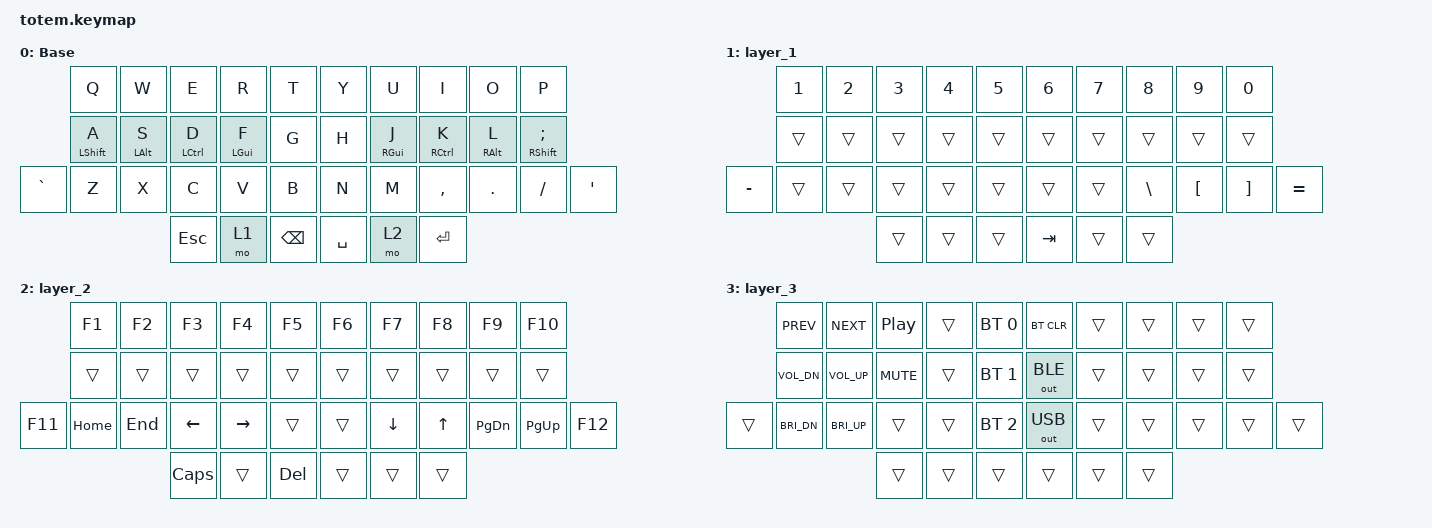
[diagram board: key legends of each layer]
//
//                                                        ▀▀▀▀▀     ▀▀▀▀▀          ▀▀█▀▀
//                                                        ▄▀▀▀▄  ▄  ▄▀▀▀▄  ▄  ▄▀▀▀▄  █  ▄▀▀▀▄
//                                                        █   █  █  █   █  █  █   █  █  █   █
//                                                         ▀▀▀   █   ▀▀▀   █   ▀▀▀   ▀   ▀▀▀
//                                                               █      ▄▄▄█▄▄▄    █   █  
//                                                               ▀      █  █  █     █▄█
//                                                             ▀▀▀▀▀    █  █  █      ▀
//                                                                      ▀  ▀  ▀
//
// ▄▄▄▄▄▄▄▄▄▄▄▄▄▄▄▄▄▄▄▄▄▄▄▄▄▄▄▄▄▄▄▄▄▄▄▄▄▄▄▄▄▄▄▄▄▄▄▄▄▄▄▄▄▄▄▄▄▄▄▄▄▄▄▄▄▄▄▄▄▄▄▄▄▄▄▄▄▄▄▄▄▄▄▄▄▄▄▄▄▄▄▄▄▄▄▄▄▄▄▄▄▄▄▄▄▄▄▄▄▄▄▄▄▄▄▄▄▄▄▄▄▄▄▄▄▄▄▄▄▄▄▄▄▄▄▄▄▄▄▄▄▄▄▄▄▄▄▄▄

#include <behaviors.dtsi>
#include <dt-bindings/zmk/bt.h>
#include <dt-bindings/zmk/keys.h>
#include <dt-bindings/zmk/outputs.h>

#define BASE 0
#define NAV  1
#define SYM  2
#define ADJ  3
#define TVP1 4
#define TVP2 5

&mt {
    quick-tap-ms = <100>;
    global-quick-tap;
    flavor = "tap-preferred";
    tapping-term-ms = <170>;
};

/ {
    combos { compatible = "zmk,combos"; };

    behaviors {
        hm: homerow_mods {
            compatible = "zmk,behavior-hold-tap";
            label = "HOMEROW_MODS";
            bindings = <&kp>, <&kp>;

            #binding-cells = <2>;
            tapping-term-ms = <170>;
            quick-tap-ms = <125>;
            flavor = "tap-preferred";
        };
    };

    keymap {
        compatible = "zmk,keymap";

        // ▄▄▄▄▄▄▄▄▄▄▄▄▄▄▄▄▄▄▄▄▄▄▄▄▄▄▄▄▄▄▄▄▄▄▄▄▄▄▄▄▄▄▄▄▄▄▄▄▄▄▄▄▄▄▄▄▄▄▄▄▄▄▄▄▄▄▄▄▄▄▄▄▄▄▄▄▄▄▄▄▄▄▄▄▄▄▄▄▄▄▄▄▄▄▄▄▄▄▄▄▄▄▄▄▄▄▄▄▄▄▄▄▄▄▄▄▄▄▄▄▄▄▄▄▄▄▄▄▄▄▄▄▄▄▄▄▄▄▄▄▄▄▄▄▄▄▄▄▄
        // ▄▄▄▄▄▄▄▄▄▄▄▄▄▄▄▄▄▄▄▄▄▄▄▄▄▄▄▄▄▄▄▄▄▄▄▄▄▄▄▄▄▄▄▄▄▄▄▄▄▄▄▄▄▄▄▄▄▄▄▄▄▄▄▄▄▄▄▄▄▄▄▄▄▄▄▄▄▄▄▄▄▄▄▄▄▄▄▄▄▄▄▄▄▄▄▄▄▄▄▄▄▄▄▄▄▄▄▄▄▄▄▄▄▄▄▄▄▄▄▄▄▄▄▄▄▄▄▄▄▄▄▄▄▄▄▄▄▄▄▄▄▄▄▄▄▄▄▄▄
        // ▄▄▄▄▄▄▄▄▄▄▄▄▄▄▄▄▄▄▄▄▄▄▄▄▄▄▄▄▄▄▄▄▄▄▄▄▄▄▄▄▄▄▄▄▄▄▄▄▄▄▄▄▄▄▄▄▄▄▄▄▄▄▄▄▄▄▄▄▄▄▄▄▄▄▄▄▄▄▄▄▄▄▄▄▄▄▄▄▄▄▄▄▄▄▄▄▄▄▄▄▄▄▄▄▄▄▄▄▄▄▄▄▄▄▄▄▄▄▄▄▄▄▄▄▄▄▄▄▄▄▄▄▄▄▄▄▄▄▄▄▄▄▄▄▄▄▄▄▄
        // ▄▄▄▄▄▄▄▄▄▄▄▄▄▄▄▄▄▄▄▄▄▄▄▄▄▄▄▄▄▄▄▄▄▄▄▄▄▄▄▄▄▄▄▄▄▄▄▄▄▄▄▄▄▄▄▄▄▄▄▄▄▄▄▄▄▄▄▄▄▄▄▄▄▄▄▄▄▄▄▄▄▄▄▄▄▄▄▄▄▄▄▄▄▄▄▄▄▄▄▄▄▄▄▄▄▄▄▄▄▄▄▄▄▄▄▄▄▄▄▄▄▄▄▄▄▄▄▄▄▄▄▄▄▄▄▄▄▄▄▄▄▄▄▄▄▄▄▄▄
        // ▄▄▄▄▄▄▄▄▄▄▄▄▄▄▄▄▄▄▄▄▄▄▄▄▄▄▄▄▄▄▄▄▄▄▄▄▄▄▄▄▄▄▄▄▄▄▄▄▄▄▄▄▄▄▄▄▄▄▄▄▄▄▄▄▄▄▄▄▄▄▄▄▄▄▄▄▄▄▄▄▄▄▄▄▄▄▄▄▄▄▄▄▄▄▄▄▄▄▄▄▄▄▄▄▄▄▄▄▄▄▄▄▄▄▄▄▄▄▄▄▄▄▄▄▄▄▄▄▄▄▄▄▄▄▄▄▄▄▄▄▄▄▄▄▄▄▄▄▄
        // ▄▄▄▄▄▄▄▄▄▄▄▄▄▄▄▄▄▄▄▄▄▄▄▄▄▄▄▄▄▄▄▄▄▄▄▄▄▄▄▄▄▄▄▄▄▄▄▄▄▄▄▄▄▄▄▄▄▄▄▄▄▄▄▄▄▄▄▄▄▄▄▄▄▄▄▄▄▄▄▄▄▄▄▄▄▄▄▄▄▄▄▄▄▄▄▄▄▄▄▄▄▄▄▄▄▄▄▄▄▄▄▄▄▄▄▄▄▄▄▄▄▄▄▄▄▄▄▄▄▄▄▄▄▄▄▄▄▄▄▄▄▄▄▄▄▄▄▄▄

        Base {
            bindings = <
           &kp Q             &kp W       &kp E        &kp R           &kp T       &kp Y      &kp U            &kp I        &kp O       &kp P
           &hm LEFT_SHIFT A  &hm LALT S  &hm LCTRL D  &hm LEFT_GUI F  &kp G       &kp H      &hm RIGHT_GUI J  &hm RCTRL K  &hm RALT L  &hm RIGHT_SHIFT SEMICOLON
&kp GRAVE  &kp Z             &kp X       &kp C        &kp V           &kp B       &kp N      &kp M            &kp COMMA    &kp DOT     &kp FSLH                   &kp SQT
                                         &kp ESC      &mo 1           &kp BSPC    &kp SPACE  &mo 2            &kp RET
            >;

            label = "Base";
        };

        Layer_1 {
            bindings = <
           &kp N1  &kp N2  &kp N3  &kp N4  &kp N5    &kp N6   &kp N7  &kp N8    &kp N9    &kp N0
           &trans  &trans  &trans  &trans  &trans    &trans   &trans  &trans    &trans    &trans
&kp MINUS  &trans  &trans  &trans  &trans  &trans    &trans   &trans  &kp BSLH  &kp LBKT  &kp RBKT  &kp EQUAL
                           &trans  &trans  &trans    &kp TAB  &trans  &trans
            >;

            label = "layer_1";
        };

        Layer_2 {
            bindings = <
         &kp F1    &kp F2   &kp F3    &kp F4     &kp F5     &kp F6  &kp F7    &kp F8  &kp F9     &kp F10
         &trans    &trans   &trans    &trans     &trans     &trans  &trans    &trans  &trans     &trans
&kp F11  &kp HOME  &kp END  &kp LEFT  &kp RIGHT  &trans     &trans  &kp DOWN  &kp UP  &kp PG_DN  &kp PG_UP  &kp F12
                            &kp CAPS  &trans     &kp DEL    &trans  &trans    &trans
            >;

            label = "layer_2";
        };

        Layer_3 {
            bindings = <
        &kp C_PREV    &kp C_NEXT       &kp C_PP    &trans  &bt BT_SEL 0    &bt BT_CLR    &trans  &trans  &trans  &trans
        &kp C_VOL_DN  &kp C_VOLUME_UP  &kp K_MUTE  &trans  &bt BT_SEL 1    &out OUT_BLE  &trans  &trans  &trans  &trans
&trans  &kp C_BRI_DN  &kp C_BRI_UP     &trans      &trans  &bt BT_SEL 2    &out OUT_USB  &trans  &trans  &trans  &trans  &trans
                                       &trans      &trans  &trans          &trans        &trans  &trans
            >;

            label = "layer_3";
        };
    };

    conditional_layers {
        compatible = "zmk,conditional-layers";

        Reveal_Layer_3 {
            if-layers = <1 2>;
            then-layer = <3>;
        };
    };
};
